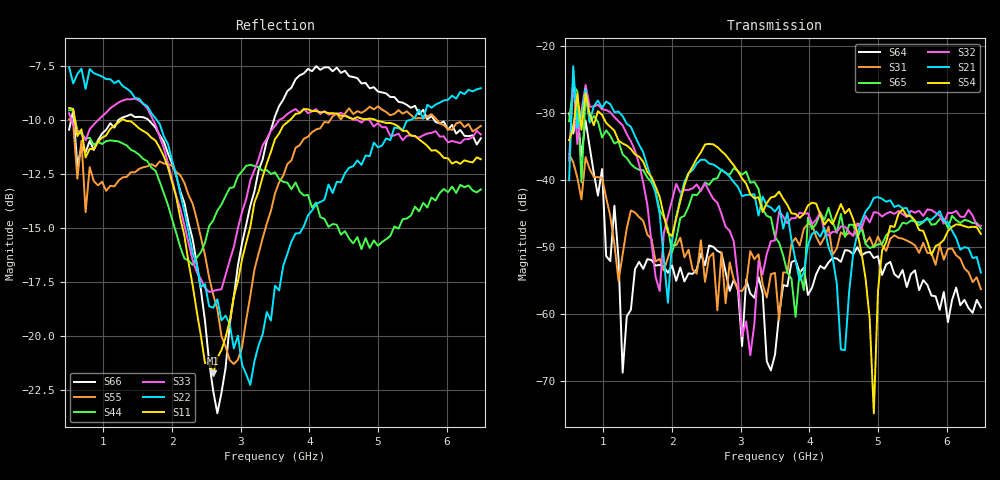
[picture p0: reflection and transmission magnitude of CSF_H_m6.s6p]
!Keysight Technologies,M9804A,MY58100912,A.14.10.03
!Date: Thursday, April 27, 2023 10:28:33
!Correction: S11(C  6-Port  )
!S12(C  6-Port  )
!S13(C  6-Port  )
!S14(C  6-Port  )
!S15(C  6-Port  )
!S16(C  6-Port  )
!S21(C  6-Port  )
!S22(C  6-Port  )
!S23(C  6-Port  )
!S24(C  6-Port  )
!S25(C  6-Port  )
!S26(C  6-Port  )
!S31(C  6-Port  )
!S32(C  6-Port  )
!S33(C  6-Port  )
!S34(C  6-Port  )
!S35(C  6-Port  )
!S36(C  6-Port  )
!S41(C  6-Port  )
!S42(C  6-Port  )
!S43(C  6-Port  )
!S44(C  6-Port  )
!S45(C  6-Port  )
!S46(C  6-Port  )
!S51(C  6-Port  )
!S52(C  6-Port  )
!S53(C  6-Port  )
!S54(C  6-Port  )
!S55(C  6-Port  )
!S56(C  6-Port  )
!S61(C  6-Port  )
!S62(C  6-Port  )
!S63(C  6-Port  )
!S64(C  6-Port  )
!S65(C  6-Port  )
!S66(C  6-Port  )
!S6P File: Measurement: :
# Hz S  RI  R 50
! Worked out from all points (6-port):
!   101 points, 500 MHz to 6.5 GHz, reference 50 ohm
!   strongest paths, dB at 500 MHz, 2 GHz, 3.5 GHz, 5 GHz, 6.5 GHz:
!     S54: -34.0, -48.3, -42.4, -56.6, -48.0
!     S21: -40.0, -49.0, -44.7, -42.5, -53.8
!     S32: -37.1, -43.0, -49.0, -44.8, -46.8
!     S65: -31.2, -50.7, -48.5, -49.6, -47.2
!     S31: -36.1, -49.6, -53.8, -48.4, -56.2
!     S64: -30.0, -52.7, -66.0, -51.3, -59.0
!   lowest |S11| = -21.7 dB at 2.6 GHz (marker M1), VSWR 1.18, Z = 42.7 + j1.98 ohm
!   |S11| at or under -10 dB: 584.5 MHz to 1.263 GHz (678.6 MHz wide, 73.5 % of centre); 1.31 GHz to 3.717 GHz (2.408 GHz wide, 95.8 % of centre); 4.966 GHz to end of sweep
